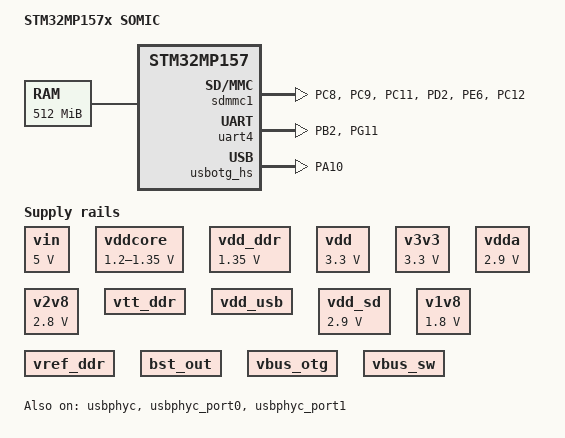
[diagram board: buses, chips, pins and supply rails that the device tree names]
// SPDX-License-Identifier: (GPL-2.0+ OR BSD-3-Clause)
/*
 * Copyright (C) Emcraft Systems 2024
 */
/dts-v1/;

#include "stm32mp157.dtsi"
#include "stm32mp15xa.dtsi"
#include "stm32mp15-pinctrl.dtsi"
#include "stm32mp15xxaa-pinctrl.dtsi"
#include <dt-bindings/clock/stm32mp1-clksrc.h>
#include "stm32mp157-somic-ddr3.dtsi"

/ {
	model = "STM32MP157x SOMIC";
	compatible = "st,stm32mp157";

	chosen {
		stdout-path = "serial0:115200n8";
	};

	memory@c0000000 {
		device_type = "memory";
		reg = <0xC0000000 0x20000000>;
	};

	clocks {
		/* USER CODE BEGIN clocks */
		/* USER CODE END clocks */

		clk_hsi: clk-hsi {
			clock-frequency = <64000000>;

			/* USER CODE BEGIN clk_hsi */
			/* USER CODE END clk_hsi */
		};
		clk_lse: clk-lse {
			clock-frequency = <32768>;
			st,drive = < LSEDRV_MEDIUM_HIGH >;

			/* USER CODE BEGIN clk_lse */
			/* USER CODE END clk_lse */
		};
		clk_hse: clk-hse {
			clock-frequency = <24000000>;

			/* USER CODE BEGIN clk_hse */
			/* USER CODE END clk_hse */
		};
	};

	aliases {
		serial0 = &uart4;
	};

	vin: vin {
		compatible = "regulator-fixed";
		regulator-name = "vin";
		regulator-min-microvolt = <5000000>;
		regulator-max-microvolt = <5000000>;
		regulator-always-on;
	};

	pmic: pmic@1 {
		compatible = "simple-bus";
		reg = <0x1>;
		interrupt-controller;
		#interrupt-cells = <2>;
		status = "okay";

		vddcore: buck1 {
			compatible = "regulator-fixed";
			regulator-name = "vddcore";
			regulator-min-microvolt = <1200000>;
			regulator-max-microvolt = <1350000>;
			regulator-always-on;
		};

		vdd_ddr: buck2 {
			compatible = "regulator-fixed";
			regulator-name = "vdd_ddr";
			regulator-min-microvolt = <1350000>;
			regulator-max-microvolt = <1350000>;
			regulator-always-on;
		};

		vdd: buck3 {
			compatible = "regulator-fixed";
			regulator-name = "vdd";
			regulator-min-microvolt = <3300000>;
			regulator-max-microvolt = <3300000>;
			regulator-always-on;
		};

		v3v3: buck4 {
			compatible = "regulator-fixed";
			regulator-name = "v3v3";
			regulator-min-microvolt = <3300000>;
			regulator-max-microvolt = <3300000>;
			regulator-always-on;
		};

		vdda: ldo1 {
			compatible = "regulator-fixed";
			regulator-name = "vdda";
			regulator-min-microvolt = <2900000>;
			regulator-max-microvolt = <2900000>;
		};

		v2v8: ldo2 {
			compatible = "regulator-fixed";
			regulator-name = "v2v8";
			regulator-min-microvolt = <2800000>;
			regulator-max-microvolt = <2800000>;
		};

		vtt_ddr: ldo3 {
			compatible = "regulator-fixed";
			regulator-name = "vtt_ddr";
			regulator-always-on;
		};

		vdd_usb: ldo4 {
			compatible = "regulator-fixed";
			regulator-name = "vdd_usb";
		};

		vdd_sd: ldo5 {
			compatible = "regulator-fixed";
			regulator-name = "vdd_sd";
			regulator-min-microvolt = <2900000>;
			regulator-max-microvolt = <2900000>;
			regulator-boot-on;
		};

		v1v8: ldo6 {
			compatible = "regulator-fixed";
			regulator-name = "v1v8";
			regulator-min-microvolt = <1800000>;
			regulator-max-microvolt = <1800000>;
		};

		vref_ddr: vref_ddr {
			compatible = "regulator-fixed";
			regulator-name = "vref_ddr";
		};

		bst_out: boost {
			compatible = "regulator-fixed";
			regulator-name = "bst_out";
		};

		vbus_otg: pwr_sw1 {
			compatible = "regulator-fixed";
			regulator-name = "vbus_otg";
		};

		vbus_sw: pwr_sw2 {
			compatible = "regulator-fixed";
			regulator-name = "vbus_sw";
		};
	};
};

&cpu0 {
	cpu-supply = <&vddcore>;
};

&cpu1 {
	cpu-supply = <&vddcore>;
};

&pwr_regulators {
	vdd-supply = <&vdd>;
	vdd_3v3_usbfs-supply = <&vdd_usb>;
};

&pinctrl {
	sdmmc1_pins_mx: sdmmc1_mx-0 {
		pins1 {
			pinmux = <STM32_PINMUX('C', 8, AF12)>, /* SDMMC1_D0 */
					 <STM32_PINMUX('C', 9, AF12)>, /* SDMMC1_D1 */
					 <STM32_PINMUX('C', 11, AF12)>, /* SDMMC1_D3 */
					 <STM32_PINMUX('D', 2, AF12)>, /* SDMMC1_CMD */
					 <STM32_PINMUX('E', 6, AF8)>; /* SDMMC1_D2 */
			bias-disable;
			drive-push-pull;
			slew-rate = <1>;
		};
		pins2 {
			pinmux = <STM32_PINMUX('C', 12, AF12)>; /* SDMMC1_CK */
			bias-disable;
			drive-push-pull;
			slew-rate = <3>;
		};
	};

	uart4_pins_mx: uart4_mx-0 {
		pins1 {
			pinmux = <STM32_PINMUX('B', 2, AF8)>; /* UART4_RX */
			bias-disable;
		};
		pins2 {
			pinmux = <STM32_PINMUX('G', 11, AF6)>; /* UART4_TX */
			bias-disable;
			drive-push-pull;
			slew-rate = <0>;
		};
	};

	usb_otg_hs_pins_mx: usb_otg_hs_mx-0 {
		pins {
			pinmux = <STM32_PINMUX('A', 10, ANALOG)>; /* USB_OTG_HS_ID */
		};
	};

	/* USER CODE BEGIN pinctrl */
	/* USER CODE END pinctrl */
};

&pinctrl_z {
	/* USER CODE BEGIN pinctrl_z */
	/* USER CODE END pinctrl_z */
};

&pinctrl {
	sdmmc1_pins_mx: sdmmc1_mx-0 {
		pins1 {
			pinmux = <STM32_PINMUX('C', 8, AF12)>, /* SDMMC1_D0 */
					 <STM32_PINMUX('C', 9, AF12)>, /* SDMMC1_D1 */
					 <STM32_PINMUX('C', 11, AF12)>, /* SDMMC1_D3 */
					 <STM32_PINMUX('D', 2, AF12)>, /* SDMMC1_CMD */
					 <STM32_PINMUX('E', 6, AF8)>; /* SDMMC1_D2 */
			bias-disable;
			drive-push-pull;
			slew-rate = <1>;
		};
		pins2 {
			pinmux = <STM32_PINMUX('C', 12, AF12)>; /* SDMMC1_CK */
			bias-disable;
			drive-push-pull;
			slew-rate = <3>;
		};
	};

	uart4_pins_mx: uart4_mx-0 {
		pins1 {
			pinmux = <STM32_PINMUX('B', 2, AF8)>; /* UART4_RX */
			bias-disable;
		};
		pins2 {
			pinmux = <STM32_PINMUX('G', 11, AF6)>; /* UART4_TX */
			bias-disable;
			drive-push-pull;
			slew-rate = <0>;
		};
	};

	usb_otg_hs_pins_mx: usb_otg_hs_mx-0 {
		pins {
			pinmux = <STM32_PINMUX('A', 10, ANALOG)>; /* USB_OTG_HS_ID */
		};
	};

	/* USER CODE BEGIN pinctrl */
	/* USER CODE END pinctrl */
};

&pinctrl_z {
	/* USER CODE BEGIN pinctrl_z */
	/* USER CODE END pinctrl_z */
};

&rcc{
	status = "okay";

	/* USER CODE BEGIN rcc */
	/* USER CODE END rcc */

	st,clksrc = <
		CLK_CKPER_DISABLED
		CLK_SDMMC12_HCLK6
		CLK_STGEN_HSE
		CLK_USBO_PLL4R
		CLK_UART24_HSE
		CLK_MPU_PLL1P
		CLK_AXI_HSE
		CLK_MCU_HSE
	>;
	st,clkdiv = <
		DIV(DIV_MPU, 1)
		DIV(DIV_AXI, 0)
		DIV(DIV_MCU, 0)
		DIV(DIV_APB1, 0)
		DIV(DIV_APB2, 0)
		DIV(DIV_APB3, 0)
		DIV(DIV_APB4, 0)
		DIV(DIV_APB5, 0)
		DIV(DIV_RTC, 0)
		DIV(DIV_MCO1, 0)
		DIV(DIV_MCO2, 0)
	>;
	st,pll_vco {
		pll2_vco_1200Mhz: pll2-vco-1200Mhz {
			src = < CLK_PLL12_HSE >;
			divmn = < 1 49 >;
		};
		pll4_vco_405Mhz: pll4-vco-405Mhz {
			src = < CLK_PLL4_HSE >;
			divmn = < 1 32 >;
			frac = < 0x1800 >;
		};
		/* USER CODE BEGIN rcc_st-pll_vco */
		/* USER CODE END rcc_st-pll_vco */
	};

	pll2:st,pll@1 {
		compatible = "st,stm32mp1-pll";
		reg = <1>;

		st,pll = < &pll2_cfg1 >;

		pll2_cfg1: pll2_cfg1 {
			st,pll_vco = < &pll2_vco_1200Mhz >;
			st,pll_div_pqr = < 1 1 1 >;
		};
		/* USER CODE BEGIN pll2 */
		/* USER CODE END pll2 */
	};

	pll4:st,pll@3 {
		compatible = "st,stm32mp1-pll";
		reg = <3>;

		st,pll = < &pll4_cfg1 >;

		pll4_cfg1: pll4_cfg1 {
			st,pll_vco = < &pll4_vco_405Mhz >;
			st,pll_div_pqr = < 1 1 80 >;
		};
		/* USER CODE BEGIN pll4 */
		/* USER CODE END pll4 */
	};

};

&sdmmc1{
	pinctrl-names = "default";
	pinctrl-0 = <&sdmmc1_pins_mx>;
	status = "okay";

	/* USER CODE BEGIN sdmmc1 */
	/* USER CODE END sdmmc1 */
};

&uart4{
	pinctrl-names = "default";
	pinctrl-0 = <&uart4_pins_mx>;
	status = "okay";

	/* USER CODE BEGIN uart4 */
	/* USER CODE END uart4 */
};

&usbotg_hs{
	pinctrl-names = "default";
	pinctrl-0 = <&usb_otg_hs_pins_mx>;
	status = "okay";

	/* USER CODE BEGIN usbotg_hs */
	/* USER CODE END usbotg_hs */
};

&usbphyc{
	status = "okay";

	/* USER CODE BEGIN usbphyc */
	/* USER CODE END usbphyc */
};

&usbphyc_port0{
	status = "okay";

	/* USER CODE BEGIN usbphyc_port0 */
	/* USER CODE END usbphyc_port0 */
};

&usbphyc_port1{
	status = "okay";

	/* USER CODE BEGIN usbphyc_port1 */
	/* USER CODE END usbphyc_port1 */
};

/* USER CODE BEGIN addons */
/* USER CODE END addons */

